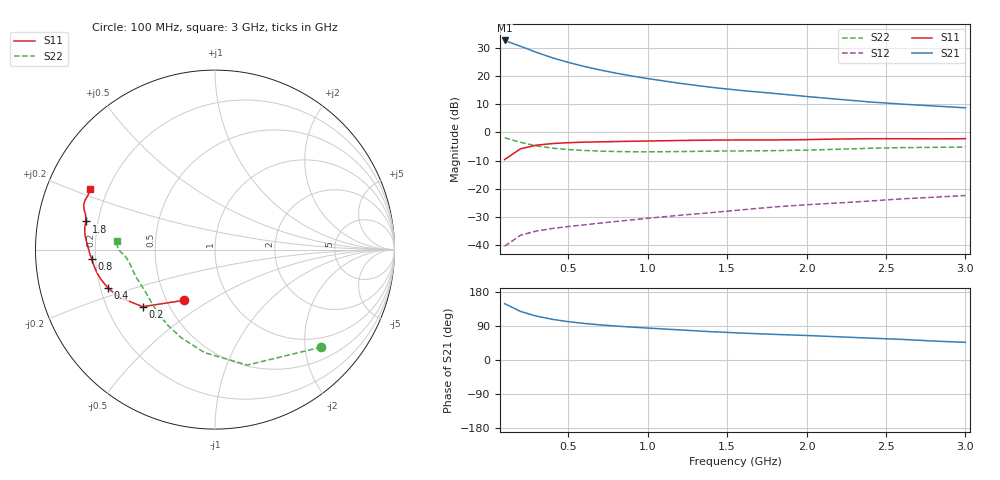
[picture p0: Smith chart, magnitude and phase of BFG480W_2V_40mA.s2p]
! Filename: 240BFG480.001
! Title: BFG480W
! Bias: Vce=2V; Ic=40mA
! Company: Philips Semiconductors NL
! User: Quality&Reliability T&D
! Measure time: 10 Nov 1999 / 11:53:50
#  MHz  S  MA  R 50
! Freq  S11  S21  S12  S22  :
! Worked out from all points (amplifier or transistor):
!   20 points, 100 MHz to 3 GHz, reference 50 ohm
!   highest |S21| = 32.5 dB at 100 MHz (marker M1)
!   |S21| within 3 dB of that: start of sweep to 243.8 MHz
!   unconditionally stable (mu >= 1): 1.033 GHz to end of sweep
!   at 400 MHz: K = 0.59, MSG = 30.2 dB, |S12| = -34.0 dB
!   at 1.2 GHz: K = 1.04, MAG = 22.1 dB, |S12| = -29.3 dB
!   at 3 GHz: K = 1.12, MAG = 13.4 dB, |S12| = -22.3 dB
!   S11 on the Smith chart (normalised r, x): 100 MHz: 0.61, -0.39; 200 MHz: 0.36, -0.31; 400 MHz: 0.23, -0.16; 800 MHz: 0.18, -0.04; 1.8 GHz: 0.15, +0.11; 3 GHz: 0.13, +0.23
100  0.3305 -121.3  42.35 148.8  0.009705 67.0  0.8038 -42.5
200  0.5131 -141.7  33.39 128.3  0.01515 54.2  0.6679 -74.3
300  0.5941 -153.3  26.11 115.7  0.01796 49.3  0.5769 -95.8
400  0.6345 -160.4  20.93 107.3  0.01995 48.1  0.5263 -110.8
500  0.6579 -165.6  17.36 101.2  0.02159 48.8  0.4972 -121.7
600  0.672 -169.5  14.71 96.5  0.02314 50.0  0.4791 -129.8
700  0.6814 -172.7  12.74 92.8  0.02479 51.9  0.467 -136.1
800  0.689 -175.5  11.2 89.6  0.02653 53.7  0.4591 -141.3
900  0.6973 -177.9  9.957 86.9  0.02827 55.9  0.4547 -145.7
1000  0.7042 179.8  8.966 84.3  0.03024 57.4  0.4535 -149.6
1200  0.7189 176.1  7.411 79.5  0.03411 60.2  0.458 -156.0
1400  0.7298 173.2  6.277 74.7  0.03804 62.4  0.4658 -160.8
1600  0.7359 170.5  5.48 70.9  0.04283 64.3  0.4705 -164.6
1800  0.7361 167.7  4.886 67.6  0.04804 65.8  0.476 -168.3
2000  0.7451 165.2  4.323 64.7  0.05244 67.1  0.4862 -172.5
2200  0.7634 162.9  3.856 61.2  0.05648 67.8  0.503 -176.0
2400  0.7739 160.9  3.458 57.6  0.06101 67.9  0.5237 -178.4
2600  0.7742 159.1  3.166 54.4  0.06678 67.8  0.5383 -179.9
2800  0.7695 156.7  2.935 50.0  0.07129 66.8  0.5441 178.1
3000  0.7737 154.0  2.725 46.6  0.07638 66.5  0.5506 175.2
